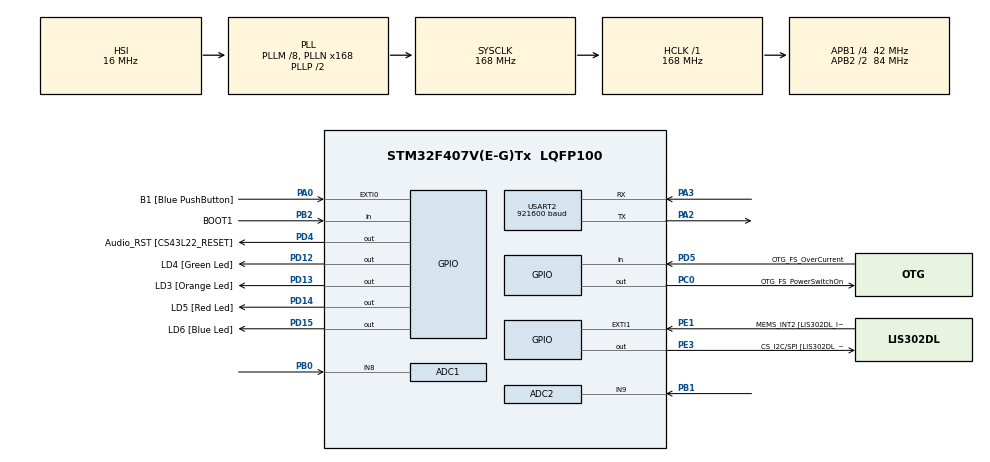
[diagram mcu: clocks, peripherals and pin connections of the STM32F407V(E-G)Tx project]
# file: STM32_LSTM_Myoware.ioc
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ADC1.Channel-0\#ChannelRegularConversion=ADC_CHANNEL_8
ADC1.ExternalTrigConv=ADC_SOFTWARE_START
ADC1.NbrOfConversionFlag=1
ADC1.Rank-0\#ChannelRegularConversion=1
ADC1.SamplingTime-0\#ChannelRegularConversion=ADC_SAMPLETIME_3CYCLES
ADC1.master=1
ADC2.Channel-0\#ChannelRegularConversion=ADC_CHANNEL_9
ADC2.NbrOfConversionFlag=1
ADC2.Rank-0\#ChannelRegularConversion=1
ADC2.SamplingTime-0\#ChannelRegularConversion=ADC_SAMPLETIME_3CYCLES
Mcu.Family=STM32F4
Mcu.Name=STM32F407V(E-G)Tx
Mcu.Package=LQFP100
NVIC.ADC_IRQn=true\:0\:0\:false\:false\:true\:true\:true
NVIC.PriorityGroup=NVIC_PRIORITYGROUP_0
NVIC.TIM1_UP_TIM10_IRQn=true\:0\:0\:false\:false\:true\:true\:true
NVIC.TIM8_UP_TIM13_IRQn=true\:0\:0\:false\:false\:true\:true\:true
PA0-WKUP.GPIO_Label=B1 [Blue PushButton]
PA0-WKUP.Signal=GPXTI0
PA10.GPIO_Label=OTG_FS_ID
PA10.GPIO_Mode=GPIO_MODE_AF_PP
PA10.GPIO_PuPd=GPIO_NOPULL
PA10.GPIO_Speed=GPIO_SPEED_FREQ_LOW
PA10.Signal=USB_OTG_FS_ID
PA11.GPIO_Label=OTG_FS_DM
PA11.GPIO_Mode=GPIO_MODE_AF_PP
PA11.GPIO_PuPd=GPIO_NOPULL
PA11.GPIO_Speed=GPIO_SPEED_FREQ_LOW
PA11.Signal=USB_OTG_FS_DM
PA12.GPIO_Label=OTG_FS_DP
PA12.GPIO_Mode=GPIO_MODE_AF_PP
PA12.GPIO_PuPd=GPIO_NOPULL
PA12.GPIO_Speed=GPIO_SPEED_FREQ_LOW
PA12.Signal=USB_OTG_FS_DP
PA13.GPIO_Label=SWDIO
PA13.Signal=SYS_JTMS-SWDIO
PA14.GPIO_Label=SWCLK
PA14.Signal=SYS_JTCK-SWCLK
PA2.Mode=Asynchronous
PA2.Signal=USART2_TX
PA3.Mode=Asynchronous
PA3.Signal=USART2_RX
PA4.GPIO_Label=I2S3_WS [CS43L22_LRCK]
PA4.GPIO_Mode=GPIO_MODE_AF_PP
PA4.GPIO_PuPd=GPIO_NOPULL
PA4.GPIO_Speed=GPIO_SPEED_FREQ_LOW
PA4.Signal=I2S3_WS
PA5.GPIO_Label=SPI1_SCK [LIS302DL_SCL/SPC]
PA5.GPIO_Mode=GPIO_MODE_AF_PP
PA5.GPIO_PuPd=GPIO_NOPULL
PA5.GPIO_Speed=GPIO_SPEED_FREQ_LOW
PA5.Signal=SPI1_SCK
PA6.GPIO_Label=SPI1_MISO [LIS302DL_SDO]
PA6.GPIO_Mode=GPIO_MODE_AF_PP
PA6.GPIO_PuPd=GPIO_NOPULL
PA6.GPIO_Speed=GPIO_SPEED_FREQ_LOW
PA6.Signal=SPI1_MISO
PA7.GPIO_Label=SPI1_MOSI [LIS302DL_SDA/SDI/SDO]
PA7.GPIO_Mode=GPIO_MODE_AF_PP
PA7.GPIO_PuPd=GPIO_NOPULL
PA7.GPIO_Speed=GPIO_SPEED_FREQ_LOW
PA7.Signal=SPI1_MOSI
PA9.GPIO_Label=VBUS_FS
PA9.GPIO_Mode=GPIO_MODE_INPUT
PA9.GPIO_PuPd=GPIO_NOPULL
PA9.Signal=USB_OTG_FS_VBUS
PB0.Signal=ADCx_IN8
PB1.Signal=ADCx_IN9
PB10.GPIO_Label=CLK_IN [MP45DT02_CLK]
PB10.GPIO_Mode=GPIO_MODE_AF_PP
PB10.GPIO_PuPd=GPIO_NOPULL
PB10.GPIO_Speed=GPIO_SPEED_FREQ_LOW
PB10.Signal=I2S2_CK
PB2.GPIO_Label=BOOT1
PB2.GPIO_Mode=GPIO_MODE_INPUT
PB2.GPIO_PuPd=GPIO_NOPULL
PB2.Signal=GPIO_Input
PB3.GPIO_Label=SWO
PB3.Signal=SYS_JTDO-SWO
PB6.GPIO_Label=Audio_SCL [CS43L22_SCL]
PB6.GPIO_Mode=GPIO_MODE_AF_OD
PB6.GPIO_PuPd=GPIO_NOPULL
PB6.GPIO_Speed=GPIO_SPEED_FREQ_LOW
PB6.Signal=I2C1_SCL
PB9.GPIO_Label=Audio_SDA [CS43L22_SDA]
PB9.GPIO_Mode=GPIO_MODE_AF_OD
PB9.GPIO_PuPd=GPIO_NOPULL
PB9.GPIO_Speed=GPIO_SPEED_FREQ_LOW
PB9.Signal=I2C1_SDA
PC0.GPIO_Label=OTG_FS_PowerSwitchOn
PC0.GPIO_PuPd=GPIO_NOPULL
PC0.GPIO_Speed=GPIO_SPEED_FREQ_LOW
PC0.PinState=GPIO_PIN_SET
PC0.Signal=GPIO_Output
PC10.GPIO_Label=I2S3_SCK [CS43L22_SCLK]
PC10.GPIO_Mode=GPIO_MODE_AF_PP
PC10.GPIO_PuPd=GPIO_NOPULL
PC10.GPIO_Speed=GPIO_SPEED_FREQ_LOW
PC10.Signal=I2S3_CK
PC12.GPIO_Label=I2S3_SD [CS43L22_SDIN]
PC12.GPIO_Mode=GPIO_MODE_AF_PP
PC12.GPIO_PuPd=GPIO_NOPULL
PC12.GPIO_Speed=GPIO_SPEED_FREQ_LOW
PC12.Signal=I2S3_SD
PC14-OSC32_IN.GPIO_Label=PC14-OSC32_IN
PC14-OSC32_IN.Signal=RCC_OSC32_IN
PC15-OSC32_OUT.GPIO_Label=PC15-OSC32_OUT
PC15-OSC32_OUT.Signal=RCC_OSC32_OUT
PC3.GPIO_Label=PDM_OUT [MP45DT02_DOUT]
PC3.GPIO_Mode=GPIO_MODE_AF_PP
PC3.GPIO_PuPd=GPIO_NOPULL
PC3.GPIO_Speed=GPIO_SPEED_FREQ_LOW
PC3.Signal=I2S2_SD
PC7.GPIO_Label=I2S3_MCK [CS43L22_MCLK]
PC7.GPIO_Mode=GPIO_MODE_AF_PP
PC7.GPIO_PuPd=GPIO_NOPULL
PC7.GPIO_Speed=GPIO_SPEED_FREQ_LOW
PC7.Signal=I2S3_MCK
PD12.GPIO_Label=LD4 [Green Led]
PD12.GPIO_PuPd=GPIO_NOPULL
PD12.GPIO_Speed=GPIO_SPEED_FREQ_LOW
PD12.Signal=GPIO_Output
PD13.GPIO_Label=LD3 [Orange Led]
PD13.GPIO_PuPd=GPIO_NOPULL
PD13.GPIO_Speed=GPIO_SPEED_FREQ_LOW
PD13.Signal=GPIO_Output
PD14.GPIO_Label=LD5 [Red Led]
PD14.GPIO_PuPd=GPIO_NOPULL
PD14.GPIO_Speed=GPIO_SPEED_FREQ_LOW
PD14.Signal=GPIO_Output
PD15.GPIO_Label=LD6 [Blue Led]
PD15.GPIO_PuPd=GPIO_NOPULL
PD15.GPIO_Speed=GPIO_SPEED_FREQ_LOW
PD15.Signal=GPIO_Output
PD4.GPIO_Label=Audio_RST [CS43L22_RESET]
PD4.GPIO_PuPd=GPIO_NOPULL
PD4.GPIO_Speed=GPIO_SPEED_FREQ_LOW
PD4.Signal=GPIO_Output
PD5.GPIO_Label=OTG_FS_OverCurrent
PD5.GPIO_Mode=GPIO_MODE_INPUT
PD5.GPIO_PuPd=GPIO_NOPULL
PD5.Signal=GPIO_Input
PE1.GPIO_Label=MEMS_INT2 [LIS302DL_INT2]
PE1.GPIO_ModeDefaultEXTI=GPIO_MODE_EVT_RISING
PE1.GPIO_PuPd=GPIO_NOPULL
PE1.Signal=GPXTI1
PE3.GPIO_Label=CS_I2C/SPI [LIS302DL_CS_I2C/SPI]
PE3.GPIO_PuPd=GPIO_NOPULL
PE3.GPIO_Speed=GPIO_SPEED_FREQ_LOW
PE3.Signal=GPIO_Output
PH0-OSC_IN.GPIO_Label=PH0-OSC_IN
PH0-OSC_IN.Signal=RCC_OSC_IN
PH1-OSC_OUT.GPIO_Label=PH1-OSC_OUT
PH1-OSC_OUT.Signal=RCC_OSC_OUT
ProjectManager.HeapSize=0x200
ProjectManager.StackSize=0x400
ProjectManager.TargetToolchain=STM32CubeIDE
RCC.48MHZClocksFreq_Value=48000000
RCC.AHBFreq_Value=168000000
RCC.APB1CLKDivider=RCC_HCLK_DIV4
RCC.APB1Freq_Value=42000000
RCC.APB1TimFreq_Value=84000000
RCC.APB2CLKDivider=RCC_HCLK_DIV2
RCC.APB2Freq_Value=84000000
RCC.APB2TimFreq_Value=168000000
RCC.CortexFreq_Value=168000000
RCC.HCLKFreq_Value=168000000
RCC.HSE_VALUE=8000000
RCC.HSI_VALUE=16000000
RCC.LSE_VALUE=32768
RCC.PLLM=8
RCC.PLLN=168
RCC.PLLQ=7
RCC.SYSCLKFreq_VALUE=168000000
RCC.SYSCLKSource=RCC_SYSCLKSOURCE_PLLCLK
RCC.VCOOutputFreq_Value=336000000
SH.ADCx_IN8.0=ADC1_IN8,IN8
SH.ADCx_IN9.0=ADC2_IN9,IN9
TIM1.AutoReloadPreload=TIM_AUTORELOAD_PRELOAD_DISABLE
TIM1.Period=40
TIM1.Prescaler=4199
TIM1.TIM_MasterOutputTrigger=TIM_TRGO_UPDATE
TIM8.Period=4000
TIM8.Prescaler=4199
TIM8.TIM_MasterOutputTrigger=TIM_TRGO_UPDATE
USART2.BaudRate=921600
USART2.VirtualMode=VM_ASYNC
VP_TIM1_VS_ClockSourceINT.Mode=Internal
VP_TIM8_VS_ClockSourceINT.Mode=Internal
board=STM32F407G-DISC1

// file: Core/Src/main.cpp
/* USER CODE BEGIN Header */
/**
 ******************************************************************************
 * @file           : main.c
 * @brief          : Main program body
 ******************************************************************************
 * @attention
 *
 * <h2><center>&copy; Copyright (c) 2021 STMicroelectronics.
 * All rights reserved.</center></h2>
 *
 * This software component is licensed by ST under BSD 3-Clause license,
 * the "License"; You may not use this file except in compliance with the
 * License. You may obtain a copy of the License at:
 *                        opensource.org/licenses/BSD-3-Clause
 *
 ******************************************************************************
 */
/* USER CODE END Header */
#include "main.h"

/* USER CODE BEGIN Includes */
#include <string.h>

#include "tensorflow/lite/micro/kernels/micro_ops.h"
#include "tensorflow/lite/micro/micro_error_reporter.h"
#include "tensorflow/lite/micro/micro_interpreter.h"
#include "tensorflow/lite/micro/micro_mutable_op_resolver.h"
#include "tensorflow/lite/version.h"
#include "EMG_RNN.h"
/* USER CODE END Includes */

/* USER CODE BEGIN PD */
#define SIZE 100
/* USER CODE END PD */

ADC_HandleTypeDef hadc1;
ADC_HandleTypeDef hadc2;

TIM_HandleTypeDef htim1;
TIM_HandleTypeDef htim8;

UART_HandleTypeDef huart2;

/* USER CODE BEGIN PV */
uint32_t datoADC1 = 0, datoADC2 = 0;
uint8_t fullADC1 = 0, fullADC2 = 0;
uint16_t countADC1 = 0, countADC2 = 0;

// TFLite globals
namespace {
tflite::ErrorReporter* error_reporter = nullptr;
const tflite::Model* model = nullptr;
tflite::MicroInterpreter* interpreter = nullptr;
TfLiteTensor* model_input = nullptr;
TfLiteTensor* model_output = nullptr;

// Create an area of memory to use for input, output, and other TensorFlow
// arrays. You'll need to adjust this by compiling, running, and looking
// for errors.
constexpr int kTensorArenaSize = 2 * 1024;
__attribute__((aligned(16)))uint8_t tensor_arena[kTensorArenaSize];
} // namespace
/* USER CODE END PV */

void SystemClock_Config(void);
static void MX_GPIO_Init(void);
static void MX_ADC1_Init(void);
static void MX_TIM1_Init(void);
static void MX_TIM8_Init(void);
static void MX_USART2_UART_Init(void);
static void MX_ADC2_Init(void);

/* USER CODE BEGIN 0 */
short QueueADC1[SIZE];
int frontADC1 = 0;
int rearADC1 = -1;
int itemsInQueueADC1 = 0;
long sumADC1 = 0;
long squaredSumADC1 = 0;

short QueueADC2[SIZE];
int frontADC2 = 0;
int rearADC2 = -1;
int itemsInQueueADC2 = 0;
long sumADC2 = 0;
long squaredSumADC2 = 0;

_Bool isFullADC1() {
	return itemsInQueueADC1 == SIZE;
}
_Bool isFullADC2() {
	return itemsInQueueADC2 == SIZE;
}

short removeDataADC1Queue() {
	short data = QueueADC1[frontADC1++];

	if(frontADC1 == SIZE) {
		frontADC1 = 0;
	}

	itemsInQueueADC1--;
	sumADC1 -= data;
	squaredSumADC1 -= data*data;
	return data;
}
short removeDataADC2Queue() {
	short data = QueueADC2[frontADC2++];

	if(frontADC2 == SIZE) {
		frontADC2 = 0;
	}

	itemsInQueueADC2--;
	sumADC2 -= data;
	squaredSumADC2 -= data*data;
	return data;
}

void insertDataADC1Queue(short data) {

	if(!isFullADC1()) {
		if(rearADC1 == SIZE-1) {
			rearADC1 = -1;
		}
		QueueADC1[++rearADC1] = data;
		itemsInQueueADC1++;
		sumADC1 += data;
		squaredSumADC1 += data*data;
	} else {
		removeDataADC1Queue();
		insertDataADC1Queue(data);
	}
}
void insertDataADC2Queue(short data) {

	if(!isFullADC2()) {
		if(rearADC2 == SIZE-1) {
			rearADC2 = -1;
		}
		QueueADC2[++rearADC2] = data;
		itemsInQueueADC2++;
		sumADC2 += data;
		squaredSumADC2 += data*data;
	} else {
		removeDataADC2Queue();
		insertDataADC2Queue(data);
	}
}

float LSTM_Classify(float mean, float std, float rms){
	uint32_t timestamp;
	TfLiteStatus tflite_status;
	float y_val;
	char buf[50];
	int buf_len = 0;

	// Fill input buffer (use test value)
	model_input->data.f[0] = mean;
	model_input->data.f[1] = std;
	model_input->data.f[2] = rms;

	// Get current timestamp
	timestamp = htim8.Instance->CNT;

	// Run inference
	tflite_status = interpreter->Invoke();
	if (tflite_status != kTfLiteOk)
	{
		error_reporter->Report("Invoke failed");
	}

	// Read output (predicted y) of neural network
	y_val = model_output->data.f[0];

	// Print output of neural network along with inference time (microseconds)
	buf_len = sprintf(buf,
			"Output: %f | Duration: %lu\r\n",
			y_val,
			htim8.Instance->CNT - timestamp);
	HAL_UART_Transmit(&huart2, (uint8_t *)buf, buf_len, 100);

	return y_val;
}
/* USER CODE END 0 */

int main(void)
{
	/* USER CODE BEGIN 1 */
	char buf[50];
	int buf_len = 0;
	TfLiteStatus tflite_status;
	uint32_t num_elements;
	/* USER CODE END 1 */

	/* MCU Configuration--------------------------------------------------------*/

	/* Reset of all peripherals, Initializes the Flash interface and the Systick. */
	HAL_Init();

	/* Configure the system clock */
	SystemClock_Config();

	/* Initialize all configured peripherals */
	MX_GPIO_Init();
	MX_ADC1_Init();
	MX_TIM1_Init();
	MX_TIM8_Init();
	MX_USART2_UART_Init();
	MX_ADC2_Init();
	/* USER CODE BEGIN 2 */
	HAL_TIM_Base_Start_IT(&htim1);

	// Set up logging (modify tensorflow/lite/micro/debug_log.cc)
	static tflite::MicroErrorReporter micro_error_reporter;
	error_reporter = &micro_error_reporter;

	// Say something to test error reporter
	error_reporter->Report("STM32 TensorFlow Lite test");

	// Map the model into a usable data structure
	model = tflite::GetModel(EMG_RNN);
	if (model->version() != TFLITE_SCHEMA_VERSION)
	{
		error_reporter->Report("Model version does not match Schema");
		while(1);
	}

	// Pull in only needed operations (should match NN layers). Template parameter
	// <n> is number of ops to be added. Available ops:
	// tensorflow/lite/micro/kernels/micro_ops.h
	static tflite::MicroMutableOpResolver<1> micro_op_resolver;

	// Add dense neural network layer operation
	/*
		  	tflite_status = micro_op_resolver.AddBuiltin(
		  	    tflite::BuiltinOperator_FULLY_CONNECTED,
		  	    tflite::ops::micro::Register_FULLY_CONNECTED());
	 */
	tflite_status = micro_op_resolver.AddFullyConnected();
	if (tflite_status != kTfLiteOk)
	{
		error_reporter->Report("Could not add FULLY CONNECTED op");
		while(1);
	}

	// Build an interpreter to run the model with.
	static tflite::MicroInterpreter static_interpreter(
			model, micro_op_resolver, tensor_arena, kTensorArenaSize, error_reporter);
	interpreter = &static_interpreter;

	// Allocate memory from the tensor_arena for the model's tensors.
	tflite_status = interpreter->AllocateTensors();
	if (tflite_status != kTfLiteOk)
	{
		error_reporter->Report("AllocateTensors() failed");
		while(1);
	}

	// Assign model input and output buffers (tensors) to pointers
	model_input = interpreter->input(0);
	model_output = interpreter->output(0);

	// Get number of elements in input tensor
	num_elements = model_input->bytes / sizeof(float);
	buf_len = sprintf(buf, "Number of input elements: %lu\r\n", num_elements);
	HAL_UART_Transmit(&huart2, (uint8_t *)buf, buf_len, 100);
	/* USER CODE END 2 */

	/* Infinite loop */
	while (1)
	{

	}
}

void SystemClock_Config(void)
{
	RCC_OscInitTypeDef RCC_OscInitStruct = {0};
	RCC_ClkInitTypeDef RCC_ClkInitStruct = {0};

	/** Configure the main internal regulator output voltage
	 */
	__HAL_RCC_PWR_CLK_ENABLE();
	__HAL_PWR_VOLTAGESCALING_CONFIG(PWR_REGULATOR_VOLTAGE_SCALE1);
	/** Initializes the RCC Oscillators according to the specified parameters
	 * in the RCC_OscInitTypeDef structure.
	 */
	RCC_OscInitStruct.OscillatorType = RCC_OSCILLATORTYPE_HSI;
	RCC_OscInitStruct.HSIState = RCC_HSI_ON;
	RCC_OscInitStruct.HSICalibrationValue = RCC_HSICALIBRATION_DEFAULT;
	RCC_OscInitStruct.PLL.PLLState = RCC_PLL_ON;
	RCC_OscInitStruct.PLL.PLLSource = RCC_PLLSOURCE_HSI;
	RCC_OscInitStruct.PLL.PLLM = 8;
	RCC_OscInitStruct.PLL.PLLN = 168;
	RCC_OscInitStruct.PLL.PLLP = RCC_PLLP_DIV2;
	RCC_OscInitStruct.PLL.PLLQ = 7;
	if (HAL_RCC_OscConfig(&RCC_OscInitStruct) != HAL_OK)
	{
		Error_Handler();
	}
	/** Initializes the CPU, AHB and APB buses clocks
	 */
	RCC_ClkInitStruct.ClockType = RCC_CLOCKTYPE_HCLK|RCC_CLOCKTYPE_SYSCLK
			|RCC_CLOCKTYPE_PCLK1|RCC_CLOCKTYPE_PCLK2;
	RCC_ClkInitStruct.SYSCLKSource = RCC_SYSCLKSOURCE_PLLCLK;
	RCC_ClkInitStruct.AHBCLKDivider = RCC_SYSCLK_DIV1;
	RCC_ClkInitStruct.APB1CLKDivider = RCC_HCLK_DIV4;
	RCC_ClkInitStruct.APB2CLKDivider = RCC_HCLK_DIV2;

	if (HAL_RCC_ClockConfig(&RCC_ClkInitStruct, FLASH_LATENCY_5) != HAL_OK)
	{
		Error_Handler();
	}
}

static void MX_ADC1_Init(void)
{

	ADC_ChannelConfTypeDef sConfig = {0};

	/** Configure the global features of the ADC (Clock, Resolution, Data Alignment and number of conversion)
	 */
	hadc1.Instance = ADC1;
	hadc1.Init.ClockPrescaler = ADC_CLOCK_SYNC_PCLK_DIV4;
	hadc1.Init.Resolution = ADC_RESOLUTION_12B;
	hadc1.Init.ScanConvMode = DISABLE;
	hadc1.Init.ContinuousConvMode = DISABLE;
	hadc1.Init.DiscontinuousConvMode = DISABLE;
	hadc1.Init.ExternalTrigConvEdge = ADC_EXTERNALTRIGCONVEDGE_NONE;
	hadc1.Init.ExternalTrigConv = ADC_SOFTWARE_START;
	hadc1.Init.DataAlign = ADC_DATAALIGN_RIGHT;
	hadc1.Init.NbrOfConversion = 1;
	hadc1.Init.DMAContinuousRequests = DISABLE;
	hadc1.Init.EOCSelection = ADC_EOC_SINGLE_CONV;
	if (HAL_ADC_Init(&hadc1) != HAL_OK)
	{
		Error_Handler();
	}
	/** Configure for the selected ADC regular channel its corresponding rank in the sequencer and its sample time.
	 */
	sConfig.Channel = ADC_CHANNEL_8;
	sConfig.Rank = 1;
	sConfig.SamplingTime = ADC_SAMPLETIME_3CYCLES;
	if (HAL_ADC_ConfigChannel(&hadc1, &sConfig) != HAL_OK)
	{
		Error_Handler();
	}

}

static void MX_ADC2_Init(void)
{

	ADC_ChannelConfTypeDef sConfig = {0};

	/** Configure the global features of the ADC (Clock, Resolution, Data Alignment and number of conversion)
	 */
	hadc2.Instance = ADC2;
	hadc2.Init.ClockPrescaler = ADC_CLOCK_SYNC_PCLK_DIV4;
	hadc2.Init.Resolution = ADC_RESOLUTION_12B;
	hadc2.Init.ScanConvMode = DISABLE;
	hadc2.Init.ContinuousConvMode = DISABLE;
	hadc2.Init.DiscontinuousConvMode = DISABLE;
	hadc2.Init.ExternalTrigConvEdge = ADC_EXTERNALTRIGCONVEDGE_NONE;
	hadc2.Init.ExternalTrigConv = ADC_SOFTWARE_START;
	hadc2.Init.DataAlign = ADC_DATAALIGN_RIGHT;
	hadc2.Init.NbrOfConversion = 1;
	hadc2.Init.DMAContinuousRequests = DISABLE;
	hadc2.Init.EOCSelection = ADC_EOC_SINGLE_CONV;
	if (HAL_ADC_Init(&hadc2) != HAL_OK)
	{
		Error_Handler();
	}
	/** Configure for the selected ADC regular channel its corresponding rank in the sequencer and its sample time.
	 */
	sConfig.Channel = ADC_CHANNEL_9;
	sConfig.Rank = 1;
	sConfig.SamplingTime = ADC_SAMPLETIME_3CYCLES;
	if (HAL_ADC_ConfigChannel(&hadc2, &sConfig) != HAL_OK)
	{
		Error_Handler();
	}

}

static void MX_TIM1_Init(void)
{

	TIM_ClockConfigTypeDef sClockSourceConfig = {0};
	TIM_MasterConfigTypeDef sMasterConfig = {0};

	htim1.Instance = TIM1;
	htim1.Init.Prescaler = 4199;
	htim1.Init.CounterMode = TIM_COUNTERMODE_UP;
	htim1.Init.Period = 40;
	htim1.Init.ClockDivision = TIM_CLOCKDIVISION_DIV1;
	htim1.Init.RepetitionCounter = 0;
	htim1.Init.AutoReloadPreload = TIM_AUTORELOAD_PRELOAD_DISABLE;
	if (HAL_TIM_Base_Init(&htim1) != HAL_OK)
	{
		Error_Handler();
	}
	sClockSourceConfig.ClockSource = TIM_CLOCKSOURCE_INTERNAL;
	if (HAL_TIM_ConfigClockSource(&htim1, &sClockSourceConfig) != HAL_OK)
	{
		Error_Handler();
	}
	sMasterConfig.MasterOutputTrigger = TIM_TRGO_UPDATE;
	sMasterConfig.MasterSlaveMode = TIM_MASTERSLAVEMODE_DISABLE;
	if (HAL_TIMEx_MasterConfigSynchronization(&htim1, &sMasterConfig) != HAL_OK)
	{
		Error_Handler();
	}

}

static void MX_TIM8_Init(void)
{

	TIM_ClockConfigTypeDef sClockSourceConfig = {0};
	TIM_MasterConfigTypeDef sMasterConfig = {0};

	htim8.Instance = TIM8;
	htim8.Init.Prescaler = 4199;
	htim8.Init.CounterMode = TIM_COUNTERMODE_UP;
	htim8.Init.Period = 4000;
	htim8.Init.ClockDivision = TIM_CLOCKDIVISION_DIV1;
	htim8.Init.RepetitionCounter = 0;
	htim8.Init.AutoReloadPreload = TIM_AUTORELOAD_PRELOAD_DISABLE;
	if (HAL_TIM_Base_Init(&htim8) != HAL_OK)
	{
		Error_Handler();
	}
	sClockSourceConfig.ClockSource = TIM_CLOCKSOURCE_INTERNAL;
	if (HAL_TIM_ConfigClockSource(&htim8, &sClockSourceConfig) != HAL_OK)
	{
		Error_Handler();
	}
	sMasterConfig.MasterOutputTrigger = TIM_TRGO_UPDATE;
	sMasterConfig.MasterSlaveMode = TIM_MASTERSLAVEMODE_DISABLE;
	if (HAL_TIMEx_MasterConfigSynchronization(&htim8, &sMasterConfig) != HAL_OK)
	{
		Error_Handler();
	}

}

static void MX_USART2_UART_Init(void)
{

	huart2.Instance = USART2;
	huart2.Init.BaudRate = 921600;
	huart2.Init.WordLength = UART_WORDLENGTH_8B;
	huart2.Init.StopBits = UART_STOPBITS_1;
	huart2.Init.Parity = UART_PARITY_NONE;
	huart2.Init.Mode = UART_MODE_TX_RX;
	huart2.Init.HwFlowCtl = UART_HWCONTROL_NONE;
	huart2.Init.OverSampling = UART_OVERSAMPLING_16;
	if (HAL_UART_Init(&huart2) != HAL_OK)
	{
		Error_Handler();
	}

}

static void MX_GPIO_Init(void)
{
	GPIO_InitTypeDef GPIO_InitStruct = {0};

	/* GPIO Ports Clock Enable */
	__HAL_RCC_GPIOE_CLK_ENABLE();
	__HAL_RCC_GPIOC_CLK_ENABLE();
	__HAL_RCC_GPIOH_CLK_ENABLE();
	__HAL_RCC_GPIOA_CLK_ENABLE();
	__HAL_RCC_GPIOB_CLK_ENABLE();
	__HAL_RCC_GPIOD_CLK_ENABLE();

	/*Configure GPIO pin Output Level */
	HAL_GPIO_WritePin(CS_I2C_SPI_GPIO_Port, CS_I2C_SPI_Pin, GPIO_PIN_RESET);

	/*Configure GPIO pin Output Level */
	HAL_GPIO_WritePin(OTG_FS_PowerSwitchOn_GPIO_Port, OTG_FS_PowerSwitchOn_Pin, GPIO_PIN_SET);

	/*Configure GPIO pin Output Level */
	HAL_GPIO_WritePin(GPIOD, LD4_Pin|LD3_Pin|LD5_Pin|LD6_Pin
			|Audio_RST_Pin, GPIO_PIN_RESET);

	/*Configure GPIO pin : CS_I2C_SPI_Pin */
	GPIO_InitStruct.Pin = CS_I2C_SPI_Pin;
	GPIO_InitStruct.Mode = GPIO_MODE_OUTPUT_PP;
	GPIO_InitStruct.Pull = GPIO_NOPULL;
	GPIO_InitStruct.Speed = GPIO_SPEED_FREQ_LOW;
	HAL_GPIO_Init(CS_I2C_SPI_GPIO_Port, &GPIO_InitStruct);

	/*Configure GPIO pin : OTG_FS_PowerSwitchOn_Pin */
	GPIO_InitStruct.Pin = OTG_FS_PowerSwitchOn_Pin;
	GPIO_InitStruct.Mode = GPIO_MODE_OUTPUT_PP;
	GPIO_InitStruct.Pull = GPIO_NOPULL;
	GPIO_InitStruct.Speed = GPIO_SPEED_FREQ_LOW;
	HAL_GPIO_Init(OTG_FS_PowerSwitchOn_GPIO_Port, &GPIO_InitStruct);

	/*Configure GPIO pin : PDM_OUT_Pin */
	GPIO_InitStruct.Pin = PDM_OUT_Pin;
	GPIO_InitStruct.Mode = GPIO_MODE_AF_PP;
	GPIO_InitStruct.Pull = GPIO_NOPULL;
	GPIO_InitStruct.Speed = GPIO_SPEED_FREQ_LOW;
	GPIO_InitStruct.Alternate = GPIO_AF5_SPI2;
	HAL_GPIO_Init(PDM_OUT_GPIO_Port, &GPIO_InitStruct);

	/*Configure GPIO pin : B1_Pin */
	GPIO_InitStruct.Pin = B1_Pin;
	GPIO_InitStruct.Mode = GPIO_MODE_IT_RISING;
	GPIO_InitStruct.Pull = GPIO_NOPULL;
	HAL_GPIO_Init(B1_GPIO_Port, &GPIO_InitStruct);

	/*Configure GPIO pin : I2S3_WS_Pin */
	GPIO_InitStruct.Pin = I2S3_WS_Pin;
	GPIO_InitStruct.Mode = GPIO_MODE_AF_PP;
	GPIO_InitStruct.Pull = GPIO_NOPULL;
	GPIO_InitStruct.Speed = GPIO_SPEED_FREQ_LOW;
	GPIO_InitStruct.Alternate = GPIO_AF6_SPI3;
	HAL_GPIO_Init(I2S3_WS_GPIO_Port, &GPIO_InitStruct);

	/*Configure GPIO pins : SPI1_SCK_Pin SPI1_MISO_Pin SPI1_MOSI_Pin */
	GPIO_InitStruct.Pin = SPI1_SCK_Pin|SPI1_MISO_Pin|SPI1_MOSI_Pin;
	GPIO_InitStruct.Mode = GPIO_MODE_AF_PP;
	GPIO_InitStruct.Pull = GPIO_NOPULL;
	GPIO_InitStruct.Speed = GPIO_SPEED_FREQ_LOW;
	GPIO_InitStruct.Alternate = GPIO_AF5_SPI1;
	HAL_GPIO_Init(GPIOA, &GPIO_InitStruct);

	/*Configure GPIO pin : BOOT1_Pin */
	GPIO_InitStruct.Pin = BOOT1_Pin;
	GPIO_InitStruct.Mode = GPIO_MODE_INPUT;
	GPIO_InitStruct.Pull = GPIO_NOPULL;
	HAL_GPIO_Init(BOOT1_GPIO_Port, &GPIO_InitStruct);

	/*Configure GPIO pin : CLK_IN_Pin */
	GPIO_InitStruct.Pin = CLK_IN_Pin;
	GPIO_InitStruct.Mode = GPIO_MODE_AF_PP;
	GPIO_InitStruct.Pull = GPIO_NOPULL;
	GPIO_InitStruct.Speed = GPIO_SPEED_FREQ_LOW;
	GPIO_InitStruct.Alternate = GPIO_AF5_SPI2;
	HAL_GPIO_Init(CLK_IN_GPIO_Port, &GPIO_InitStruct);

	/*Configure GPIO pins : LD4_Pin LD3_Pin LD5_Pin LD6_Pin
                           Audio_RST_Pin */
	GPIO_InitStruct.Pin = LD4_Pin|LD3_Pin|LD5_Pin|LD6_Pin
			|Audio_RST_Pin;
	GPIO_InitStruct.Mode = GPIO_MODE_OUTPUT_PP;
	GPIO_InitStruct.Pull = GPIO_NOPULL;
	GPIO_InitStruct.Speed = GPIO_SPEED_FREQ_LOW;
	HAL_GPIO_Init(GPIOD, &GPIO_InitStruct);

	/*Configure GPIO pins : I2S3_MCK_Pin I2S3_SCK_Pin I2S3_SD_Pin */
	GPIO_InitStruct.Pin = I2S3_MCK_Pin|I2S3_SCK_Pin|I2S3_SD_Pin;
	GPIO_InitStruct.Mode = GPIO_MODE_AF_PP;
	GPIO_InitStruct.Pull = GPIO_NOPULL;
	GPIO_InitStruct.Speed = GPIO_SPEED_FREQ_LOW;
	GPIO_InitStruct.Alternate = GPIO_AF6_SPI3;
	HAL_GPIO_Init(GPIOC, &GPIO_InitStruct);

	/*Configure GPIO pin : VBUS_FS_Pin */
	GPIO_InitStruct.Pin = VBUS_FS_Pin;
	GPIO_InitStruct.Mode = GPIO_MODE_INPUT;
	GPIO_InitStruct.Pull = GPIO_NOPULL;
	HAL_GPIO_Init(VBUS_FS_GPIO_Port, &GPIO_InitStruct);

	/*Configure GPIO pins : OTG_FS_ID_Pin OTG_FS_DM_Pin OTG_FS_DP_Pin */
	GPIO_InitStruct.Pin = OTG_FS_ID_Pin|OTG_FS_DM_Pin|OTG_FS_DP_Pin;
	GPIO_InitStruct.Mode = GPIO_MODE_AF_PP;
	GPIO_InitStruct.Pull = GPIO_NOPULL;
	GPIO_InitStruct.Speed = GPIO_SPEED_FREQ_LOW;
	GPIO_InitStruct.Alternate = GPIO_AF10_OTG_FS;
	HAL_GPIO_Init(GPIOA, &GPIO_InitStruct);

	/*Configure GPIO pin : OTG_FS_OverCurrent_Pin */
	GPIO_InitStruct.Pin = OTG_FS_OverCurrent_Pin;
	GPIO_InitStruct.Mode = GPIO_MODE_INPUT;
	GPIO_InitStruct.Pull = GPIO_NOPULL;
	HAL_GPIO_Init(OTG_FS_OverCurrent_GPIO_Port, &GPIO_InitStruct);

	/*Configure GPIO pins : Audio_SCL_Pin Audio_SDA_Pin */
	GPIO_InitStruct.Pin = Audio_SCL_Pin|Audio_SDA_Pin;
	GPIO_InitStruct.Mode = GPIO_MODE_AF_OD;
	GPIO_InitStruct.Pull = GPIO_PULLUP;
	GPIO_InitStruct.Speed = GPIO_SPEED_FREQ_LOW;
	GPIO_InitStruct.Alternate = GPIO_AF4_I2C1;
	HAL_GPIO_Init(GPIOB, &GPIO_InitStruct);

	/*Configure GPIO pin : MEMS_INT2_Pin */
	GPIO_InitStruct.Pin = MEMS_INT2_Pin;
	GPIO_InitStruct.Mode = GPIO_MODE_EVT_RISING;
	GPIO_InitStruct.Pull = GPIO_NOPULL;
	HAL_GPIO_Init(MEMS_INT2_GPIO_Port, &GPIO_InitStruct);

}

/* USER CODE BEGIN 4 */

void HAL_ADC_ConvCpltCallback(ADC_HandleTypeDef* hadc){
	if(hadc->Instance == ADC1){
		datoADC1 = HAL_ADC_GetValue(&hadc1)*3000/4098;
		insertDataADC1Queue(datoADC1);
	}else if(hadc->Instance == ADC2){
		datoADC2 = HAL_ADC_GetValue(&hadc2)*3000/4098;
		insertDataADC2Queue(datoADC2);
	}
}

void HAL_TIM_PeriodElapsedCallback(TIM_HandleTypeDef *htim){
	HAL_ADC_Start_IT(&hadc1);
	HAL_ADC_Start_IT(&hadc2);
}

/* USER CODE END 4 */

void Error_Handler(void)
{
	__disable_irq();
	while (1)
	{
	}
}

/************************ (C) COPYRIGHT STMicroelectronics *****END OF FILE****/
